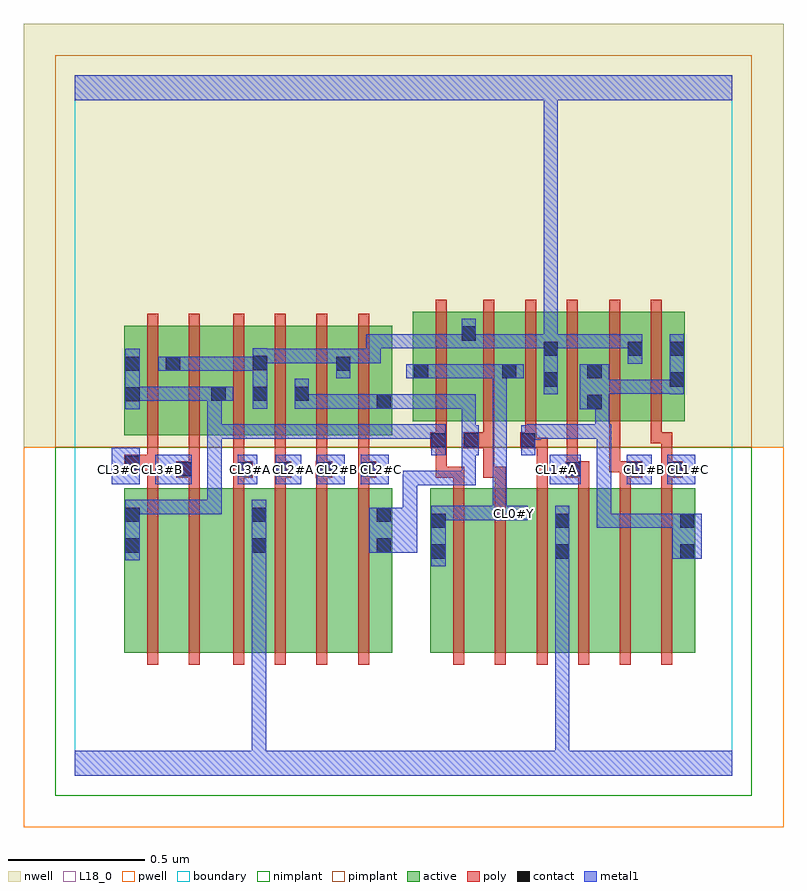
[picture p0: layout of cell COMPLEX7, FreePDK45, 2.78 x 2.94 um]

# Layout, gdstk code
import gdstk
lib = gdstk.Library(unit=1e-6, precision=1e-09)
def R(c, l, rs):  # rectangles x0, y0, x1, y1
    for r in rs: c.add(gdstk.rectangle(r[:2], r[2:], *l))
def A(c, l, x, y, w, h, nx, ny, dx, dy):  # array of equal rectangles
    R(c, l, [(x+i*dx, y+j*dy, x+i*dx+w, y+j*dy+h) for i in range(nx) for j in range(ny)])
active = (1, 0)
pwell = (2, 0)
nwell = (3, 0)
nimplant = (4, 0)
pimplant = (5, 0)
poly = (9, 0)
contact = (10, 0)
metal1 = (11, 0)
L18_0 = (18, 0)
boundary = (235, 0)

complex7 = lib.new_cell('COMPLEX7')
A(complex7, active, 0.494, 1.244, 0.212, 0.4, 3, 1, 0.152, 0)
A(complex7, active, 0.494, 1.244, 0.06, 0.4, 4, 1, 0.152, 0)
R(complex7, active, [(0.18,0.45,0.36,1.05), (0.36,0.45,0.522,1.05), (0.522,0.45,0.702,1.05), (0.642,0.45,0.826,1.05), (0.826,0.45,0.978,1.05), (0.978,0.45,1.158,1.05), (1.298,0.45,1.478,1.05), (1.478,0.45,1.63,1.05), (1.63,0.45,1.81,1.05), (1.75,0.45,1.934,1.05), (1.934,0.45,2.086,1.05), (2.086,0.45,2.266,1.05), (0.18,0.556,0.24,1.05), (0.642,0.556,0.702,1.05), (1.098,0.556,1.158,1.05), (1.298,0.556,1.358,1.05), (1.75,0.556,1.81,0.962), (2.206,0.556,2.266,1.05), (0.18,1.244,0.388,1.644), (0.18,1.244,0.24,1.644), (0.328,1.244,0.388,1.644), (0.328,1.244,0.554,1.644), (0.95,1.244,1.158,1.644), (1.098,1.244,1.158,1.644), (1.234,1.296,1.294,1.644), (1.234,1.296,1.468,1.696), (1.408,1.296,1.616,1.696), (1.556,1.296,1.768,1.696), (1.708,1.296,1.928,1.696), (1.868,1.296,2.076,1.696), (2.016,1.296,2.228,1.696), (2.168,1.296,2.228,1.644), (1.868,1.336,1.928,1.644), (1.708,1.418,1.768,1.644), (1.556,1.448,1.616,1.644), (1.408,1.472,1.468,1.646), (2.016,1.53,2.076,1.644)])
R(complex7, pwell, [(-0.188,-0.188,2.588,1.2)])
R(complex7, nwell, [(-0.188,1.2,2.588,2.748)])
R(complex7, nimplant, [(-0.072,-0.072,2.472,1.2)])
R(complex7, pimplant, [(-0.072,1.2,2.472,2.632)])
A(complex7, poly, 0.578, 0.406, 0.04, 0.688, 4, 1, 0.152, 0)
A(complex7, poly, 1.382, 0.406, 0.04, 0.688, 6, 1, 0.152, 0)
A(complex7, poly, 0.578, 1.054, 0.04, 0.076, 4, 1, 0.152, 0)
A(complex7, poly, 1.838, 1.054, 0.04, 0.076, 3, 1, 0.152, 0)
A(complex7, poly, 0.578, 1.11, 0.04, 0.13, 4, 1, 0.152, 0)
A(complex7, poly, 0.578, 1.2, 0.04, 0.488, 4, 1, 0.152, 0)
A(complex7, poly, 1.492, 1.252, 0.04, 0.488, 3, 1, 0.152, 0)
R(complex7, poly, [(0.264,0.406,0.304,1.094), (0.416,0.406,0.456,1.094), (0.264,1.054,0.304,1.154), (0.416,1.054,0.456,1.13), (1.382,1.054,1.422,1.13), (1.534,1.054,1.574,1.13), (1.686,1.054,1.726,1.236), (0.37,1.09,0.456,1.15), (0.416,1.09,0.456,1.13), (0.416,1.09,0.456,1.13), (0.578,1.09,0.65,1.15), (0.73,1.09,0.79,1.15), (0.88,1.09,0.94,1.15), (1.034,1.09,1.1,1.15), (1.318,1.09,1.358,1.236), (1.318,1.09,1.422,1.13), (1.492,1.09,1.532,1.236), (1.492,1.09,1.574,1.13), (1.792,1.09,1.878,1.15), (1.99,1.09,2.072,1.15), (2.142,1.09,2.22,1.15), (0.416,1.11,0.456,1.24), (0.578,1.11,0.618,1.15), (0.578,1.11,0.618,1.15), (0.73,1.11,0.77,1.15), (0.73,1.11,0.77,1.15), (0.882,1.11,0.922,1.15), (0.882,1.11,0.922,1.15), (1.034,1.11,1.074,1.15), (1.034,1.11,1.074,1.15), (1.796,1.11,1.836,1.292), (1.796,1.11,1.836,1.15), (1.796,1.11,1.836,1.15), (1.952,1.11,2.03,1.15), (1.952,1.11,1.992,1.292), (1.99,1.11,2.03,1.15), (2.142,1.11,2.182,1.256), (0.18,1.114,0.304,1.174), (0.264,1.134,0.304,1.174), (0.264,1.134,0.304,1.174), (0.264,1.134,0.304,1.24), (1.298,1.196,1.358,1.256), (1.418,1.196,1.532,1.256), (1.626,1.196,1.686,1.256), (1.646,1.196,1.686,1.236), (1.646,1.196,1.726,1.236), (0.264,1.2,0.304,1.688), (0.416,1.2,0.456,1.688), (1.318,1.216,1.358,1.292), (1.492,1.216,1.532,1.292), (1.644,1.216,1.684,1.292), (2.104,1.216,2.144,1.292), (2.104,1.216,2.182,1.256), (1.318,1.252,1.358,1.74), (1.952,1.252,1.992,1.74), (2.104,1.252,2.144,1.74)])
A(complex7, contact, 0.498, 1.37, 0.052, 0.052, 3, 1, 0.152, 0)
R(complex7, contact, [(1.302,0.794,1.354,0.846), (1.754,0.794,1.806,0.846), (2.21,0.794,2.262,0.846), (0.184,0.816,0.236,0.868), (0.646,0.816,0.698,0.868), (1.102,0.816,1.154,0.868), (1.302,0.906,1.354,0.958), (1.754,0.906,1.806,0.958), (2.21,0.906,2.262,0.958), (0.184,0.928,0.236,0.98), (0.646,0.928,0.698,0.98), (1.102,0.928,1.154,0.98), (0.374,1.094,0.426,1.146), (0.594,1.094,0.646,1.146), (0.734,1.094,0.786,1.146), (0.884,1.094,0.936,1.146), (1.044,1.094,1.096,1.146), (1.796,1.094,1.848,1.146), (2.016,1.094,2.068,1.146), (2.164,1.094,2.216,1.146), (0.184,1.118,0.236,1.17), (1.302,1.2,1.354,1.252), (1.422,1.2,1.474,1.252), (1.63,1.2,1.682,1.252), (1.872,1.34,1.924,1.392), (1.102,1.342,1.154,1.394), (0.184,1.368,0.236,1.42), (1.712,1.422,1.764,1.474), (2.172,1.422,2.224,1.474), (1.238,1.452,1.29,1.504), (1.56,1.452,1.612,1.504), (1.872,1.452,1.924,1.504), (0.184,1.48,0.236,1.532), (0.332,1.48,0.384,1.532), (0.954,1.48,1.006,1.532), (0.65,1.482,0.702,1.534), (1.712,1.534,1.764,1.586), (2.02,1.534,2.072,1.586), (2.172,1.534,2.224,1.586), (1.412,1.59,1.464,1.642)])
A(complex7, metal1, 1.204, 1.342, 0.052, 0.052, 3, 1, 0.104, 0)
A(complex7, metal1, 1.308, 1.342, 0.156, 0.052, 1, 3, 0, 0.11)
R(complex7, metal1, [(0,0,2.4,0.092), (0.646,0.04,0.698,0.092), (0.646,0.04,0.698,0.092), (0.646,0.04,0.698,0.092), (0.646,0.04,0.698,0.092), (0.646,0.04,0.698,0.092), (0.646,0.04,0.698,0.092), (0.646,0.04,0.698,0.84), (1.754,0.04,1.806,0.092), (1.754,0.04,1.806,0.092), (1.754,0.04,1.806,0.092), (1.754,0.04,1.806,0.092), (1.754,0.04,1.806,0.092), (1.754,0.04,1.806,0.092), (1.754,0.04,1.806,0.818), (1.302,0.766,1.354,0.986), (1.754,0.766,1.806,0.818), (1.754,0.766,1.806,0.818), (1.754,0.766,1.806,0.986), (0.184,0.788,0.236,1.008), (0.646,0.788,0.698,0.84), (0.646,0.788,0.698,0.84), (0.646,0.788,0.698,1.008), (2.182,0.794,2.29,0.958), (1.074,0.816,1.25,0.98), (1.906,0.906,1.958,0.958), (1.906,0.906,1.958,0.958), (1.906,0.906,1.958,0.958), (1.906,0.906,2.106,0.958), (1.906,0.906,1.958,1.284), (2.054,0.906,2.106,0.958), (2.054,0.906,2.106,0.958), (2.054,0.906,2.106,0.958), (2.054,0.906,2.234,0.958), (2.182,0.906,2.234,0.958), (2.182,0.906,2.234,0.958), (1.198,0.928,1.25,1.114), (1.302,0.934,1.36,0.986), (1.308,0.934,1.36,0.986), (1.308,0.934,1.464,0.986), (1.412,0.934,1.464,0.986), (1.412,0.934,1.47,0.986), (1.418,0.934,1.47,0.986), (1.418,0.934,1.578,0.986), (1.526,0.934,1.578,0.986), (1.526,0.934,1.578,0.986), (1.526,0.934,1.578,0.986), (1.526,0.934,1.578,0.986), (1.526,0.934,1.578,1.504), (1.526,0.934,1.654,0.986), (0.184,0.956,0.236,1.008), (0.184,0.956,0.236,1.008), (0.184,0.956,0.346,1.008), (0.294,0.956,0.346,1.008), (0.294,0.956,0.346,1.008), (0.294,0.956,0.346,1.008), (0.294,0.956,0.536,1.008), (0.484,0.956,0.536,1.008), (0.484,0.956,0.536,1.284), (1.198,1.062,1.25,1.114), (1.198,1.062,1.354,1.114), (1.302,1.062,1.354,1.114), (1.302,1.062,1.36,1.114), (1.308,1.062,1.36,1.114), (1.308,1.062,1.464,1.114), (1.412,1.062,1.464,1.114), (1.412,1.062,1.464,1.224), (0.134,1.066,0.236,1.198), (0.294,1.066,0.426,1.174), (0.594,1.066,0.666,1.174), (0.734,1.066,0.826,1.174), (0.884,1.066,0.986,1.174), (1.044,1.066,1.146,1.174), (1.734,1.066,1.848,1.174), (2.016,1.066,2.106,1.174), (2.164,1.066,2.266,1.174), (1.302,1.172,1.354,1.28), (1.412,1.172,1.464,1.224), (1.412,1.172,1.474,1.224), (1.412,1.172,1.464,1.394), (1.422,1.172,1.474,1.28), (1.63,1.172,1.682,1.28), (1.302,1.228,1.354,1.28), (1.302,1.228,1.354,1.284), (1.63,1.228,1.702,1.28), (1.65,1.228,1.702,1.284), (0.484,1.232,0.536,1.284), (0.484,1.232,0.536,1.284), (0.484,1.232,0.536,1.284), (0.484,1.232,0.536,1.284), (0.484,1.232,0.536,1.284), (0.484,1.232,0.688,1.284), (0.484,1.232,0.536,1.422), (0.636,1.232,0.688,1.284), (0.636,1.232,0.688,1.284), (0.636,1.232,0.688,1.284), (0.636,1.232,0.896,1.284), (0.844,1.232,0.896,1.284), (0.844,1.232,0.896,1.284), (0.844,1.232,0.896,1.284), (0.844,1.232,1.006,1.284), (0.954,1.232,1.006,1.284), (0.954,1.232,1.006,1.284), (0.954,1.232,1.006,1.284), (0.954,1.232,1.146,1.284), (1.094,1.232,1.146,1.284), (1.094,1.232,1.354,1.284), (1.65,1.232,1.952,1.284), (1.9,1.232,1.952,1.284), (1.9,1.232,1.952,1.284), (1.9,1.232,1.952,1.392), (1.9,1.232,1.958,1.284), (0.184,1.34,0.236,1.56), (1.844,1.34,1.952,1.504), (0.65,1.342,0.702,1.562), (0.802,1.342,0.854,1.394), (0.802,1.342,0.854,1.394), (0.802,1.342,0.854,1.45), (0.802,1.342,1.006,1.394), (0.954,1.342,1.006,1.394), (0.954,1.342,1.006,1.394), (0.954,1.342,1.006,1.394), (0.954,1.342,1.126,1.394), (1.074,1.342,1.182,1.394), (1.13,1.342,1.256,1.394), (1.204,1.342,1.36,1.394), (0.184,1.37,0.236,1.422), (0.184,1.37,0.236,1.422), (0.184,1.37,0.346,1.422), (0.294,1.37,0.346,1.422), (0.294,1.37,0.346,1.422), (0.294,1.37,0.346,1.422), (0.294,1.37,0.522,1.422), (0.47,1.37,0.578,1.422), (1.712,1.394,1.764,1.614), (2.172,1.394,2.224,1.614), (1.9,1.396,2.106,1.448), (2.054,1.396,2.106,1.448), (2.054,1.396,2.106,1.448), (2.054,1.396,2.106,1.448), (2.054,1.396,2.224,1.448), (2.172,1.396,2.224,1.448), (2.172,1.396,2.224,1.448), (0.954,1.452,1.006,1.56), (1.21,1.452,1.318,1.504), (1.266,1.452,1.36,1.504), (1.308,1.452,1.36,1.504), (1.412,1.452,1.464,1.504), (1.412,1.452,1.474,1.504), (1.422,1.452,1.474,1.504), (1.422,1.452,1.578,1.504), (1.526,1.452,1.578,1.504), (1.526,1.452,1.578,1.504), (1.526,1.452,1.64,1.504), (0.304,1.48,0.412,1.532), (0.36,1.48,0.412,1.532), (0.36,1.48,0.412,1.532), (0.36,1.48,0.536,1.532), (0.484,1.48,0.536,1.532), (0.484,1.48,0.536,1.532), (0.484,1.48,0.536,1.532), (0.484,1.48,0.702,1.532), (2.02,1.506,2.072,1.614), (0.65,1.508,0.702,1.56), (0.65,1.508,0.702,1.56), (0.65,1.508,0.896,1.56), (0.844,1.508,0.896,1.56), (0.844,1.508,0.896,1.56), (0.844,1.508,0.896,1.56), (0.844,1.508,1.006,1.56), (0.954,1.508,1.116,1.56), (1.064,1.508,1.116,1.614), (1.064,1.562,1.116,1.614), (1.064,1.562,1.116,1.614), (1.064,1.562,1.354,1.614), (1.302,1.562,1.354,1.614), (1.302,1.562,1.36,1.614), (1.308,1.562,1.36,1.614), (1.412,1.562,1.464,1.67), (1.412,1.562,1.474,1.614), (1.422,1.562,1.474,1.614), (1.422,1.562,1.584,1.614), (1.532,1.562,1.584,1.614), (1.532,1.562,1.584,1.614), (1.532,1.562,1.584,1.614), (1.532,1.562,1.764,1.614), (1.712,1.562,1.792,1.614), (1.712,1.562,1.764,2.52), (1.74,1.562,1.792,1.614), (1.74,1.562,1.962,1.614), (1.91,1.562,1.962,1.614), (1.91,1.562,2.072,1.614), (2.02,1.562,2.072,1.614), (2.02,1.562,2.072,1.614), (0,2.468,2.4,2.56), (1.712,2.468,1.764,2.52), (1.712,2.468,1.764,2.52), (1.712,2.468,1.764,2.52), (1.712,2.468,1.764,2.52), (1.712,2.468,1.764,2.52), (1.712,2.468,1.764,2.52), (1.712,2.468,1.764,2.52), (1.712,2.468,1.764,2.52), (1.712,2.468,1.764,2.52), (1.712,2.468,1.764,2.52), (1.712,2.468,1.764,2.52), (1.712,2.468,1.764,2.52), (1.712,2.468,1.764,2.52), (1.712,2.468,1.764,2.52), (1.712,2.468,1.764,2.52), (1.712,2.468,1.764,2.52)])
A(complex7, L18_0, 0.614, 1.094, 0.052, 0.052, 4, 1, 0.16, 0)
R(complex7, L18_0, [(0,0,2.4,0.092), (0.646,0.04,0.698,0.092), (0.646,0.04,0.698,0.092), (0.646,0.04,0.698,0.092), (0.646,0.04,0.698,0.092), (0.646,0.04,0.698,0.092), (0.646,0.04,0.698,0.092), (0.646,0.04,0.698,0.84), (1.754,0.04,1.806,0.092), (1.754,0.04,1.806,0.092), (1.754,0.04,1.806,0.092), (1.754,0.04,1.806,0.092), (1.754,0.04,1.806,0.092), (1.754,0.04,1.806,0.092), (1.754,0.04,1.806,0.818), (1.302,0.766,1.354,0.986), (1.754,0.766,1.806,0.818), (1.754,0.766,1.806,0.818), (1.754,0.766,1.806,0.986), (0.646,0.788,0.698,0.84), (0.646,0.788,0.698,0.84), (0.646,0.788,0.698,1.008), (1.302,0.934,1.36,0.986), (1.308,0.934,1.36,0.986), (1.308,0.934,1.464,0.986), (1.412,0.934,1.464,0.986), (1.412,0.934,1.47,0.986), (1.418,0.934,1.47,0.986), (1.418,0.934,1.578,0.986), (1.526,0.934,1.578,0.986), (1.526,0.934,1.578,0.986), (1.526,0.934,1.578,0.986), (1.526,0.934,1.578,0.986), (1.526,0.934,1.654,0.986), (1.526,0.934,1.578,1.504), (1.574,0.934,1.626,0.986), (0.134,1.066,0.236,1.198), (0.294,1.066,0.426,1.174), (0.594,1.066,0.666,1.174), (0.734,1.066,0.826,1.174), (0.884,1.066,0.986,1.174), (1.044,1.066,1.146,1.174), (1.734,1.066,1.848,1.174), (2.016,1.066,2.106,1.174), (2.164,1.066,2.266,1.174), (0.134,1.094,0.186,1.146), (0.294,1.094,0.346,1.146), (1.734,1.094,1.786,1.146), (2.054,1.094,2.106,1.146), (2.214,1.094,2.266,1.146), (0.65,1.342,0.702,1.562), (1.712,1.394,1.764,1.614), (0.954,1.452,1.006,1.56), (1.21,1.452,1.318,1.504), (1.266,1.452,1.36,1.504), (1.308,1.452,1.36,1.504), (1.308,1.452,1.464,1.504), (1.412,1.452,1.464,1.504), (1.412,1.452,1.474,1.504), (1.422,1.452,1.474,1.504), (1.422,1.452,1.578,1.504), (1.526,1.452,1.578,1.504), (1.526,1.452,1.578,1.504), (1.526,1.452,1.64,1.504), (0.304,1.48,0.412,1.532), (0.36,1.48,0.412,1.532), (0.36,1.48,0.412,1.532), (0.36,1.48,0.536,1.532), (0.484,1.48,0.536,1.532), (0.484,1.48,0.536,1.532), (0.484,1.48,0.536,1.532), (0.484,1.48,0.702,1.532), (2.02,1.506,2.072,1.614), (0.65,1.508,0.702,1.56), (0.65,1.508,0.702,1.56), (0.65,1.508,0.896,1.56), (0.844,1.508,0.896,1.56), (0.844,1.508,0.896,1.56), (0.844,1.508,0.896,1.56), (0.844,1.508,1.006,1.56), (0.954,1.508,1.116,1.56), (1.064,1.508,1.116,1.614), (1.064,1.562,1.116,1.614), (1.064,1.562,1.116,1.614), (1.064,1.562,1.354,1.614), (1.302,1.562,1.354,1.614), (1.302,1.562,1.36,1.614), (1.308,1.562,1.36,1.614), (1.308,1.562,1.464,1.614), (1.412,1.562,1.464,1.67), (1.412,1.562,1.474,1.614), (1.422,1.562,1.474,1.614), (1.422,1.562,1.584,1.614), (1.532,1.562,1.584,1.614), (1.532,1.562,1.584,1.614), (1.532,1.562,1.584,1.614), (1.532,1.562,1.764,1.614), (1.712,1.562,1.764,2.52), (1.712,1.562,1.792,1.614), (1.74,1.562,1.792,1.614), (1.74,1.562,1.962,1.614), (1.91,1.562,1.962,1.614), (1.91,1.562,2.072,1.614), (2.02,1.562,2.072,1.614), (2.02,1.562,2.072,1.614), (0,2.468,2.4,2.56), (1.712,2.468,1.764,2.52), (1.712,2.468,1.764,2.52), (1.712,2.468,1.764,2.52), (1.712,2.468,1.764,2.52), (1.712,2.468,1.764,2.52), (1.712,2.468,1.764,2.52), (1.712,2.468,1.764,2.52), (1.712,2.468,1.764,2.52), (1.712,2.468,1.764,2.52), (1.712,2.468,1.764,2.52), (1.712,2.468,1.764,2.52), (1.712,2.468,1.764,2.52), (1.712,2.468,1.764,2.52), (1.712,2.468,1.764,2.52), (1.712,2.468,1.764,2.52), (1.712,2.468,1.764,2.52)])
R(complex7, boundary, [(0,0,2.4,2.56)])
complex7.add(gdstk.Label('CL0#Y', (1.6,0.96), layer=11, texttype=0))
complex7.add(gdstk.Label('CL1#A', (1.76,1.12), layer=11, texttype=0))
complex7.add(gdstk.Label('CL1#B', (2.08,1.12), layer=11, texttype=0))
complex7.add(gdstk.Label('CL1#C', (2.24,1.12), layer=11, texttype=0))
complex7.add(gdstk.Label('CL2#A', (0.8,1.12), layer=11, texttype=0))
complex7.add(gdstk.Label('CL2#B', (0.96,1.12), layer=11, texttype=0))
complex7.add(gdstk.Label('CL2#C', (1.12,1.12), layer=11, texttype=0))
complex7.add(gdstk.Label('CL3#A', (0.64,1.12), layer=11, texttype=0))
complex7.add(gdstk.Label('CL3#B', (0.32,1.12), layer=11, texttype=0))
complex7.add(gdstk.Label('CL3#C', (0.16,1.12), layer=11, texttype=0))

lib.write_gds('COMPLEX7.gds')
